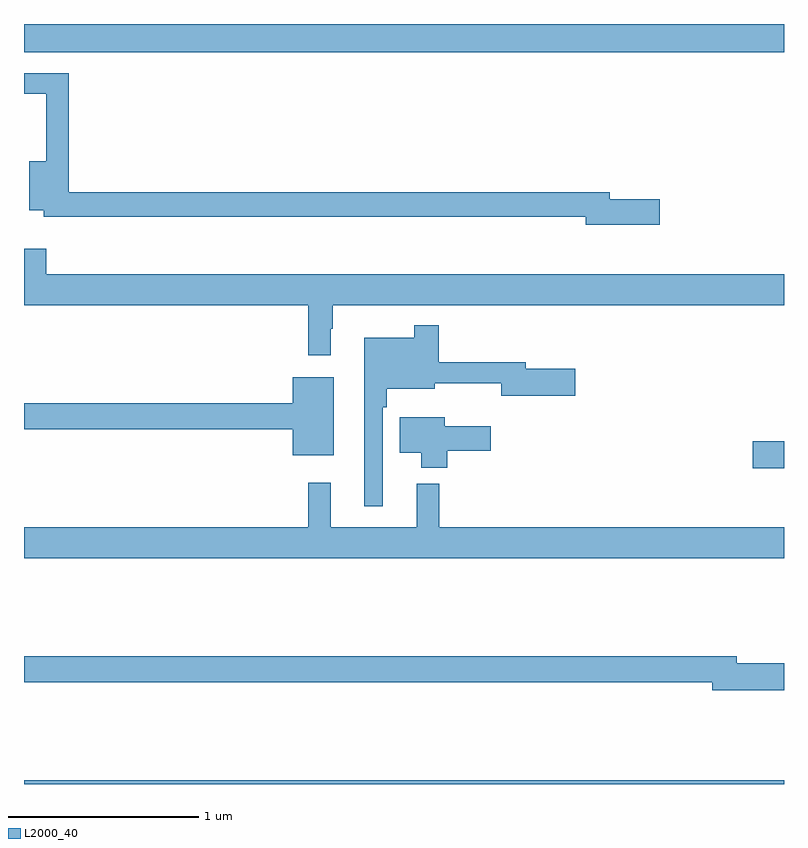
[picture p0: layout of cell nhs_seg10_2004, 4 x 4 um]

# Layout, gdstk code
import gdstk
lib = gdstk.Library(unit=1e-6, precision=1e-09)
def R(c, l, rs):  # rectangles x0, y0, x1, y1
    for r in rs: c.add(gdstk.rectangle(r[:2], r[2:], *l))
def P(c, l, *ps):  # polygons
    for p in ps: c.add(gdstk.Polygon(p, *l))
L2000_40 = (2000, 40)

nhs_seg10_2004 = lib.new_cell('nhs_seg10_2004')
R(nhs_seg10_2004, L2000_40, [(217,1260.5,221,1260.52), (220.836,1262.161,221,1262.303), (217,1264.352,221,1264.5)])
P(nhs_seg10_2004, L2000_40, [(220.345,1263.578),(220.084,1263.578),(220.084,1263.614),(217.235,1263.614),(217.235,1264.242),(217,1264.242),(217,1264.134),(217.118,1264.134),(217.118,1263.778),(217.028,1263.778),(217.028,1263.521),(217.104,1263.521),(217.104,1263.486),(219.956,1263.486),(219.956,1263.443),(220.345,1263.443)],
  [(218.614,1262.897),(218.626,1262.897),(218.626,1263.02),(221,1263.02),(221,1263.184),(217.118,1263.184),(217.118,1263.316),(217,1263.316),(217,1263.02),(218.497,1263.02),(218.497,1262.757),(218.614,1262.757)],
  [(218.889,1262.483),(218.909,1262.483),(218.909,1262.579),(219.163,1262.579),(219.163,1262.608),(219.512,1262.608),(219.512,1262.543),(219.901,1262.543),(219.901,1262.685),(219.64,1262.685),(219.64,1262.719),(219.182,1262.719),(219.182,1262.914),(219.054,1262.914),(219.054,1262.848),(218.792,1262.848),(218.792,1261.962),(218.889,1261.962)],
  [(218.629,1262.641),(218.414,1262.641),(218.414,1262.504),(217,1262.504),(217,1262.368),(218.414,1262.368),(218.414,1262.231),(218.629,1262.231)],
  [(219.227,1262.254),(219.457,1262.254),(219.457,1262.383),(219.214,1262.383),(219.214,1262.431),(218.978,1262.431),(218.978,1262.243),(219.092,1262.243),(219.092,1262.165),(219.227,1262.165)],
  [(221,1261.852),(219.185,1261.852),(219.185,1262.08),(219.068,1262.08),(219.068,1261.852),(218.615,1261.852),(218.615,1262.086),(218.497,1262.086),(218.497,1261.852),(217,1261.852),(217,1261.688),(221,1261.688)],
  [(221,1261.136),(220.75,1261.136),(220.75,1261.172),(217,1261.172),(217,1261.036),(220.622,1261.036),(220.622,1260.994),(221,1260.994)])

lib.write_gds('nhs_seg10_2004.gds')
